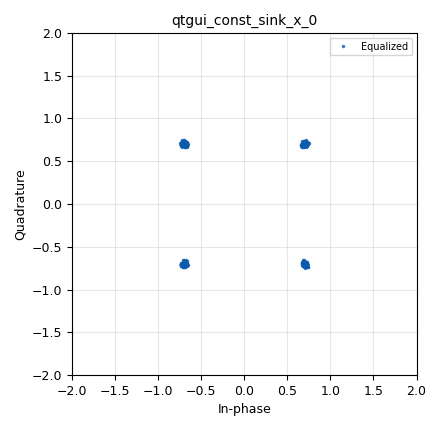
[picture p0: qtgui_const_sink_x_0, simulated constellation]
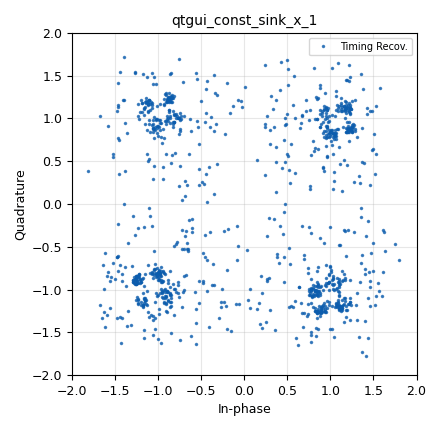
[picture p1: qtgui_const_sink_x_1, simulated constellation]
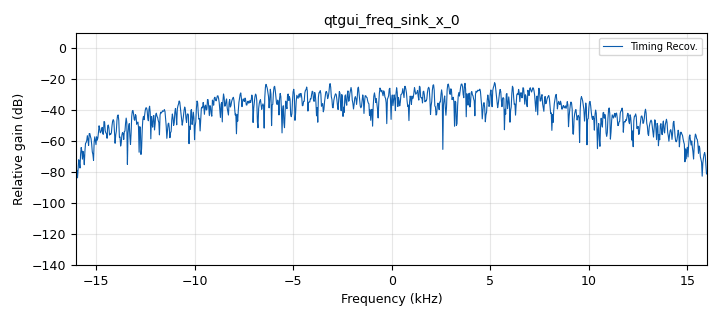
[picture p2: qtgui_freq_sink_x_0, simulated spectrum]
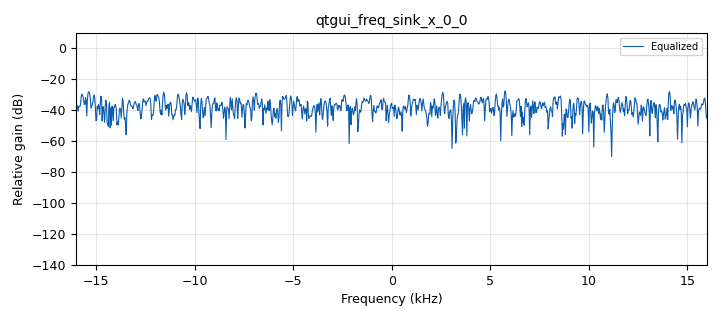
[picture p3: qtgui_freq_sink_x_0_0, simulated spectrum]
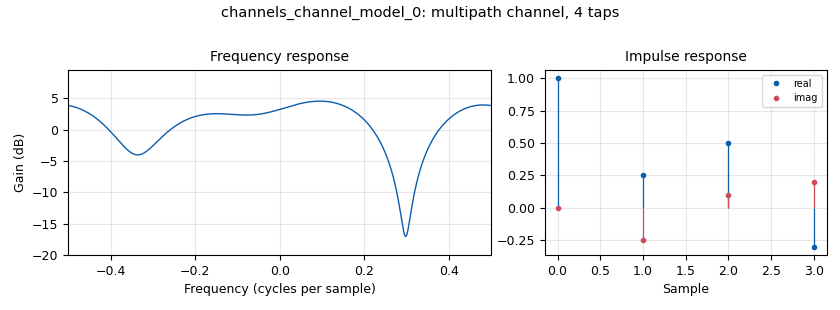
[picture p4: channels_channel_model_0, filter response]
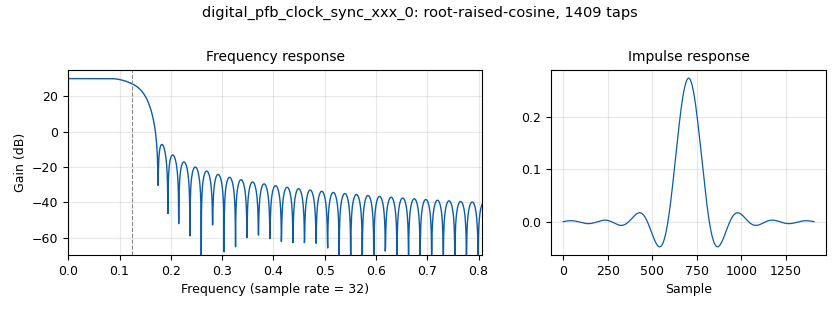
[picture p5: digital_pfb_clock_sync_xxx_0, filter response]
<?xml version='1.0' encoding='utf-8'?>
<?grc format='1' created='3.7.9'?>
<flow_graph>
<block>
<key>options</key>
<param><key>id</key><value>mpsk_stage4</value></param>
<param><key>category</key><value>Custom</value></param>
<param><key>generate_options</key><value>qt_gui</value></param>
</block>
<block>
<key>variable</key>
<param><key>id</key><value>arity</value></param>
<param><key>value</key><value>4</value></param>
</block>
<block>
<key>variable_qtgui_range</key>
<param><key>id</key><value>eq_gain</value></param>
<param><key>value</key><value>0.01</value></param>
<param><key>gui_hint</key><value>controls@1: 0,1,1,1</value></param>
<param><key>label</key><value>Equalizer: rate</value></param>
<param><key>orient</key><value>Qt.Horizontal</value></param>
<param><key>start</key><value>0.0</value></param>
<param><key>step</key><value>0.001</value></param>
<param><key>stop</key><value>0.1</value></param>
<param><key>widget</key><value>slider</value></param>
</block>
<block>
<key>variable</key>
<param><key>id</key><value>excess_bw</value></param>
<param><key>value</key><value>0.35</value></param>
</block>
<block>
<key>variable_qtgui_range</key>
<param><key>id</key><value>freq_offset</value></param>
<param><key>value</key><value>0</value></param>
<param><key>gui_hint</key><value>controls@0: 0,1,1,1</value></param>
<param><key>label</key><value>Frequency Offset</value></param>
<param><key>orient</key><value>Qt.Horizontal</value></param>
<param><key>start</key><value>-0.1</value></param>
<param><key>step</key><value>0.001</value></param>
<param><key>stop</key><value>0.1</value></param>
</block>
<block>
<key>variable</key>
<param><key>id</key><value>nfilts</value></param>
<param><key>value</key><value>32</value></param>
</block>
<block>
<key>variable_qtgui_range</key>
<param><key>id</key><value>noise_volt</value></param>
<param><key>value</key><value>0.0001</value></param>
<param><key>gui_hint</key><value>controls@0: 0,0,1,1</value></param>
<param><key>label</key><value>Noise Voltage</value></param>
<param><key>orient</key><value>Qt.Vertical</value></param>
<param><key>start</key><value>0</value></param>
<param><key>step</key><value>0.01</value></param>
<param><key>stop</key><value>1</value></param>
</block>
<block>
<key>variable_constellation_rect</key>
<param><key>id</key><value>qpsk</value></param>
<param><key>const_points</key><value>[0.707+0.707j, -0.707+0.707j, -0.707-0.707j, 0.707-0.707j]</value></param>
<param><key>imag_sect</key><value>2</value></param>
<param><key>real_sect</key><value>2</value></param>
<param><key>rot_sym</key><value>4</value></param>
<param><key>sym_map</key><value>[0, 1, 2, 3]</value></param>
<param><key>w_imag_sect</key><value>1</value></param>
<param><key>w_real_sect</key><value>1</value></param>
</block>
<block>
<key>variable</key>
<param><key>id</key><value>rrc_taps</value></param>
<param><key>value</key><value>firdes.root_raised_cosine(nfilts, nfilts, 1.0/float(sps), 0.35, 11*sps*nfilts)</value></param>
</block>
<block>
<key>variable</key>
<param><key>id</key><value>samp_rate</value></param>
<param><key>value</key><value>32000</value></param>
</block>
<block>
<key>variable</key>
<param><key>id</key><value>sps</value></param>
<param><key>value</key><value>4</value></param>
</block>
<block>
<key>variable</key>
<param><key>id</key><value>taps</value></param>
<param><key>_enabled</key><value>False</value></param>
<param><key>value</key><value>[1.0 + 0.0j, ]</value></param>
</block>
<block>
<key>variable</key>
<param><key>id</key><value>taps</value></param>
<param><key>value</key><value>[1.0, 0.25-0.25j, 0.50 + 0.10j, -0.3 + 0.2j]</value></param>
</block>
<block>
<key>variable_qtgui_range</key>
<param><key>id</key><value>time_offset</value></param>
<param><key>value</key><value>1.00</value></param>
<param><key>gui_hint</key><value>controls@0: 0,2,1,1</value></param>
<param><key>label</key><value>Timing Offset</value></param>
<param><key>orient</key><value>Qt.Horizontal</value></param>
<param><key>start</key><value>0.999</value></param>
<param><key>step</key><value>0.0001</value></param>
<param><key>stop</key><value>1.001</value></param>
</block>
<block>
<key>variable_qtgui_range</key>
<param><key>id</key><value>timing_loop_bw</value></param>
<param><key>value</key><value>6.28/100.0</value></param>
<param><key>gui_hint</key><value>controls@1: 0,0,1,1</value></param>
<param><key>label</key><value>Time: BW</value></param>
<param><key>orient</key><value>Qt.Horizontal</value></param>
<param><key>start</key><value>0.0</value></param>
<param><key>step</key><value>0.01</value></param>
<param><key>stop</key><value>0.2</value></param>
<param><key>widget</key><value>slider</value></param>
</block>
<block>
<key>variable_constellation</key>
<param><key>id</key><value>variable_constellation_0</value></param>
<param><key>const_points</key><value>[-1-1j, -1+1j, 1+1j, 1-1j]</value></param>
<param><key>dims</key><value>1</value></param>
<param><key>rot_sym</key><value>4</value></param>
<param><key>precision</key><value>8</value></param>
<param><key>sym_map</key><value>[0, 1, 3, 2]</value></param>
</block>
<block>
<key>analog_random_source_x</key>
<param><key>id</key><value>analog_random_source_x_0</value></param>
<param><key>max</key><value>256</value></param>
<param><key>min</key><value>0</value></param>
<param><key>num_samps</key><value>10000</value></param>
<param><key>type</key><value>byte</value></param>
<param><key>repeat</key><value>True</value></param>
</block>
<block>
<key>blocks_throttle</key>
<param><key>id</key><value>blocks_throttle_0</value></param>
<param><key>samples_per_second</key><value>samp_rate</value></param>
<param><key>type</key><value>complex</value></param>
</block>
<block>
<key>channels_channel_model</key>
<param><key>id</key><value>channels_channel_model_0</value></param>
<param><key>epsilon</key><value>time_offset</value></param>
<param><key>freq_offset</key><value>freq_offset</value></param>
<param><key>noise_voltage</key><value>noise_volt</value></param>
<param><key>seed</key><value>0</value></param>
<param><key>taps</key><value>taps</value></param>
</block>
<block>
<key>qtgui_tab_widget</key>
<param><key>id</key><value>controls</value></param>
<param><key>gui_hint</key><value>0,0,1,2</value></param>
<param><key>label0</key><value>Channel</value></param>
<param><key>label1</key><value>Receiver</value></param>
<param><key>num_tabs</key><value>2</value></param>
</block>
<block>
<key>digital_cma_equalizer_cc</key>
<param><key>id</key><value>digital_cma_equalizer_cc_0</value></param>
<param><key>mu</key><value>eq_gain</value></param>
<param><key>modulus</key><value>1</value></param>
<param><key>num_taps</key><value>11</value></param>
<param><key>sps</key><value>2</value></param>
</block>
<block>
<key>digital_constellation_modulator</key>
<param><key>id</key><value>digital_constellation_modulator_0</value></param>
<param><key>constellation</key><value>qpsk</value></param>
<param><key>differential</key><value>True</value></param>
<param><key>excess_bw</key><value>excess_bw</value></param>
<param><key>samples_per_symbol</key><value>sps</value></param>
</block>
<block>
<key>digital_lms_dd_equalizer_cc</key>
<param><key>id</key><value>digital_lms_dd_equalizer_cc_0</value></param>
<param><key>cnst</key><value>variable_constellation_0</value></param>
<param><key>mu</key><value>eq_gain</value></param>
<param><key>num_taps</key><value>11</value></param>
<param><key>sps</key><value>2</value></param>
</block>
<block>
<key>digital_pfb_clock_sync_xxx</key>
<param><key>id</key><value>digital_pfb_clock_sync_xxx_0</value></param>
<param><key>filter_size</key><value>nfilts</value></param>
<param><key>init_phase</key><value>nfilts/2</value></param>
<param><key>loop_bw</key><value>timing_loop_bw</value></param>
<param><key>max_dev</key><value>1.5</value></param>
<param><key>osps</key><value>2</value></param>
<param><key>sps</key><value>sps</value></param>
<param><key>taps</key><value>rrc_taps</value></param>
<param><key>type</key><value>ccf</value></param>
</block>
<block>
<key>qtgui_const_sink_x</key>
<param><key>id</key><value>qtgui_const_sink_x_0</value></param>
<param><key>gui_hint</key><value>1,1,1,1</value></param>
<param><key>alpha1</key><value>0.6</value></param>
<param><key>label1</key><value>Equalized</value></param>
<param><key>name</key><value></value></param>
<param><key>size</key><value>1024</value></param>
<param><key>type</key><value>complex</value></param>
</block>
<block>
<key>qtgui_const_sink_x</key>
<param><key>id</key><value>qtgui_const_sink_x_1</value></param>
<param><key>gui_hint</key><value>1,0,1,1</value></param>
<param><key>alpha1</key><value>0.6</value></param>
<param><key>label1</key><value>Timing Recov.</value></param>
<param><key>name</key><value></value></param>
<param><key>size</key><value>1024</value></param>
<param><key>type</key><value>complex</value></param>
</block>
<block>
<key>qtgui_freq_sink_x</key>
<param><key>id</key><value>qtgui_freq_sink_x_0</value></param>
<param><key>bw</key><value>samp_rate</value></param>
<param><key>fc</key><value>0</value></param>
<param><key>fftsize</key><value>1024</value></param>
<param><key>gui_hint</key><value>2,0,1,1</value></param>
<param><key>label1</key><value>Timing Recov.</value></param>
<param><key>width1</key><value>2</value></param>
<param><key>name</key><value></value></param>
<param><key>showports</key><value>True</value></param>
<param><key>type</key><value>complex</value></param>
<param><key>wintype</key><value>firdes.WIN_BLACKMAN_hARRIS</value></param>
</block>
<block>
<key>qtgui_freq_sink_x</key>
<param><key>id</key><value>qtgui_freq_sink_x_0_0</value></param>
<param><key>bw</key><value>samp_rate</value></param>
<param><key>fc</key><value>0</value></param>
<param><key>fftsize</key><value>1024</value></param>
<param><key>gui_hint</key><value>2,1,1,1</value></param>
<param><key>alpha1</key><value>1</value></param>
<param><key>label1</key><value>Equalized</value></param>
<param><key>width1</key><value>2</value></param>
<param><key>name</key><value></value></param>
<param><key>showports</key><value>True</value></param>
<param><key>type</key><value>complex</value></param>
<param><key>wintype</key><value>firdes.WIN_BLACKMAN_hARRIS</value></param>
</block>
<connection><source_block_id>analog_random_source_x_0</source_block_id><sink_block_id>digital_constellation_modulator_0</sink_block_id><source_key>0</source_key><sink_key>0</sink_key></connection>
<connection><source_block_id>blocks_throttle_0</source_block_id><sink_block_id>channels_channel_model_0</sink_block_id><source_key>0</source_key><sink_key>0</sink_key></connection>
<connection><source_block_id>channels_channel_model_0</source_block_id><sink_block_id>digital_pfb_clock_sync_xxx_0</sink_block_id><source_key>0</source_key><sink_key>0</sink_key></connection>
<connection><source_block_id>digital_cma_equalizer_cc_0</source_block_id><sink_block_id>digital_lms_dd_equalizer_cc_0</sink_block_id><source_key>0</source_key><sink_key>0</sink_key></connection>
<connection><source_block_id>digital_constellation_modulator_0</source_block_id><sink_block_id>blocks_throttle_0</sink_block_id><source_key>0</source_key><sink_key>0</sink_key></connection>
<connection><source_block_id>digital_lms_dd_equalizer_cc_0</source_block_id><sink_block_id>qtgui_const_sink_x_0</sink_block_id><source_key>0</source_key><sink_key>0</sink_key></connection>
<connection><source_block_id>digital_lms_dd_equalizer_cc_0</source_block_id><sink_block_id>qtgui_freq_sink_x_0_0</sink_block_id><source_key>0</source_key><sink_key>0</sink_key></connection>
<connection><source_block_id>digital_pfb_clock_sync_xxx_0</source_block_id><sink_block_id>digital_cma_equalizer_cc_0</sink_block_id><source_key>0</source_key><sink_key>0</sink_key></connection>
<connection><source_block_id>digital_pfb_clock_sync_xxx_0</source_block_id><sink_block_id>qtgui_const_sink_x_1</sink_block_id><source_key>0</source_key><sink_key>0</sink_key></connection>
<connection><source_block_id>digital_pfb_clock_sync_xxx_0</source_block_id><sink_block_id>qtgui_freq_sink_x_0</sink_block_id><source_key>0</source_key><sink_key>0</sink_key></connection>
</flow_graph>
